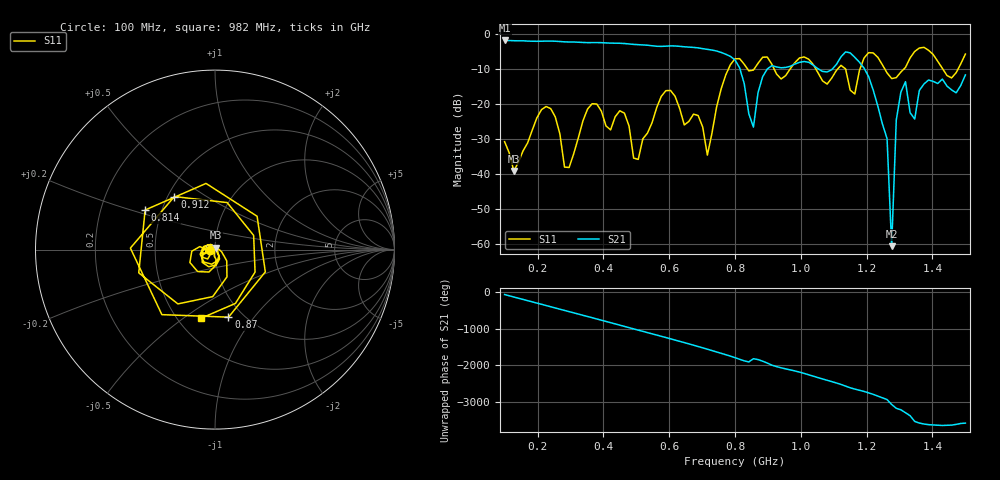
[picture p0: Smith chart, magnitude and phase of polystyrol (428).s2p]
! NanoVNA-App
! Date: 2025-09-25 15:33:13
! Start: 100MHz Stop: 1,5GHz Points: 101
! S-Parameter data: F S11 S21 S12 S22
# Hz S RI R 50
!  Frequency  S11_Real  S11_Imag  S21_Real  S21_Imag  S12_Real  S12_Imag  S22_Real  S22_Imag
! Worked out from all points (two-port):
!   101 points, 100 MHz to 1.5 GHz, reference 50 ohm
!   highest |S21| = -1.80 dB at 100 MHz (marker M1); lowest = -60.5 dB at 1.276 GHz (marker M2)
!   |S21| within 3 dB of the highest: start of sweep to 743.2 MHz
!   lowest |S11| = -39.1 dB at 128 MHz (marker M3), VSWR 1.02, Z = 50.3 + j1.06 ohm
!   |S11| at or under -10 dB: start of sweep to 779.8 MHz; 1.046 GHz to 1.111 GHz (65.53 MHz wide, 6.08 % of centre); 1.255 GHz to 1.313 GHz (57.16 MHz wide, 4.45 % of centre) (the widest 3 of 7)
!   S12 and S22 are empty: the file has one direction only
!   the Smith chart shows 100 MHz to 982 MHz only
!   S11 on the Smith chart (normalised r, x): 100 MHz: 0.94, -0.01; 814 MHz: 0.40, +0.22; 870 MHz: 0.86, -0.76; 912 MHz: 0.54, +0.37; 982 MHz: 0.64, -0.58
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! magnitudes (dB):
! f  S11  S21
! 100 MHz  -30.7  -1.8
! 128 MHz  -39.1  -1.9
! 212 MHz  -21.6  -2.0
! 282 MHz  -38.0  -2.2
! 338 MHz  -24.7  -2.4
! 506 MHz  -35.8  -3.0
! 576 MHz  -17.8  -3.5
! 716 MHz  -34.6  -4.3
! 800 MHz  -7.0  -7.4
! 814 MHz  -7.0  -9.6
! 856 MHz  -10.3  -26.6
! 870 MHz  -8.3  -16.7
! 912 MHz  -8.6  -9.0
! 982 MHz  -8.1  -8.5
! 1.038 GHz  -8.7  -8.9
! 1.164 GHz  -17.1  -6.6
! 1.206 GHz  -5.3  -12.1
! 1.262 GHz  -11.1  -29.8
! 1.276 GHz  -12.7  -60.5
! 1.29 GHz  -12.4  -24.5
! 1.304 GHz  -10.8  -16.6
! 1.5 GHz  -5.7  -11.6
